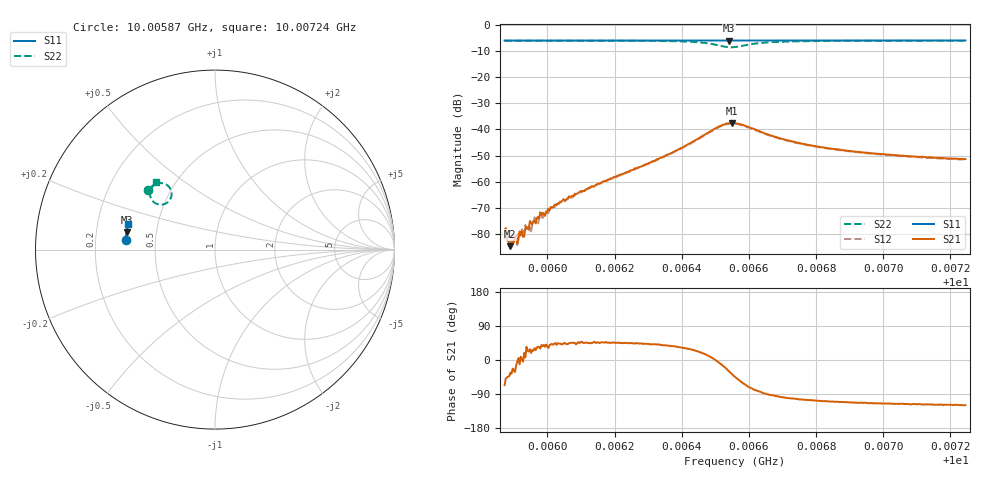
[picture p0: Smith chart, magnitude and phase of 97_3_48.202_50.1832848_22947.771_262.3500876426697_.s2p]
#  HZ  S  RI  R  50.00
! Rohde & Schwarz Vector Network Analyzer
! Rohde-Schwarz,ZNB20-2Port,1311601062101988,3.16
! Created: UTC 3/20/2024, 11:40:21 AM
! freq[Hz]  re:S11  im:S11  re:S21  im:S21  re:S12  im:S12  re:S22  im:S22
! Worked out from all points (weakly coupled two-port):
!   401 points, 10.00587 GHz to 10.00724 GHz, reference 50 ohm
!   highest |S21| = -37.55 dB at 10.00655 GHz (marker M1); lowest = -84.7 dB at 10.00589 GHz (marker M2)
!   lowest |S11| = -6.0 dB at 10.00654 GHz (marker M3), VSWR 3.01, Z = 16.8 + j4.34 ohm
!   |S11| at or under -10 dB: nowhere
!   |S22| runs from -8.6 to -6.0 dB; largest |S21 - S12| = 0.00095
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1.0005872e10  -0.4983 0.0543  4.85e-05 -0.000109  6.47e-05 -4.29e-05  -0.3731 0.3299
1.000589e10  -0.4983 0.0554  4.87e-05 -3.21e-05  7.21e-05 -5.25e-05  -0.3722 0.3311
1.0005914e10  -0.4983 0.057  7.74e-05 7.2e-06  9.78e-05 1.65e-05  -0.3708 0.3327
1.0005924e10  -0.4981 0.0577  0.000113 2.61e-06  0.000112 5.03e-05  -0.3703 0.3332
1.0005938e10  -0.498 0.0585  0.000114 7.88e-05  0.000113 5.19e-05  -0.3694 0.3342
1.0005945e10  -0.4981 0.059  0.000111 4.53e-05  0.000128 6.36e-05  -0.369 0.3346
1.0005962e10  -0.4979 0.0601  0.000151 9.16e-05  0.000171 0.000118  -0.368 0.3357
1.0005979e10  -0.4977 0.0612  0.000225 0.000131  0.0002 0.000112  -0.3671 0.3368
1.0005986e10  -0.4977 0.0617  0.000204 0.000149  0.000167 0.000113  -0.3664 0.3376
1.0006013e10  -0.4975 0.0635  0.000239 0.000218  0.000258 0.000198  -0.3648 0.3394
1.0006102e10  -0.497 0.0693  0.000446 0.000495  0.000423 0.00047  -0.3586 0.3456
1.0006332e10  -0.495 0.0842  0.00208 0.00181  0.00196 0.00186  -0.3303 0.3654
1.0006466e10  -0.4932 0.093  0.00744 0.00222  0.00712 0.0025  -0.2731 0.3635
1.000651e10  -0.4923 0.0954  0.0112 -0.00129  0.011 -0.00071  -0.243 0.324
1.0006541e10  -0.4917 0.097  0.0113 -0.00664  0.0114 -0.00604  -0.2532 0.2745
1.0006548e10  -0.4918 0.0972  0.0106 -0.0079  0.0108 -0.00697  -0.2615 0.2655
1.0006559e10  -0.4918 0.0977  0.00935 -0.00926  0.00962 -0.00849  -0.2766 0.2556
1.0006634e10  -0.4918 0.1024  0.00097 -0.00906  0.00118 -0.00881  -0.3537 0.28
1.0006696e10  -0.4914 0.1064  -0.000916 -0.00663  -0.000555 -0.00654  -0.3621 0.3095
1.0006788e10  -0.4903 0.1127  -0.00138 -0.00472  -0.00113 -0.00467  -0.3584 0.3332
1.0007018e10  -0.4871 0.1271  -0.00138 -0.00298  -0.00123 -0.00299  -0.3438 0.3599
1.0007245e10  -0.4838 0.1414  -0.00132 -0.00238  -0.00116 -0.00237  -0.3308 0.3754
